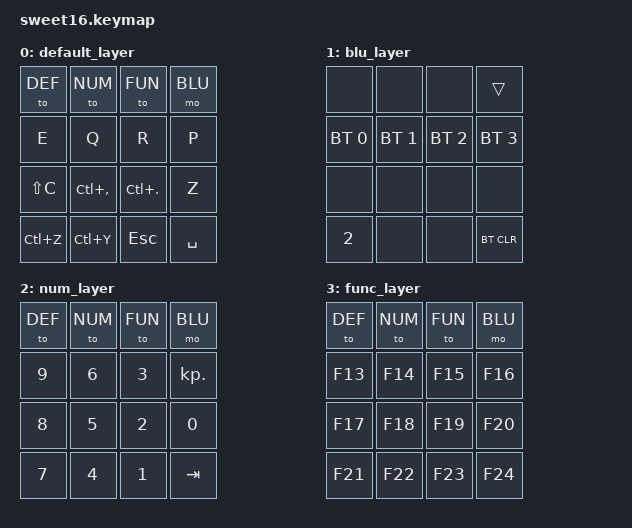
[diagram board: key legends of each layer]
/*
 * Copyright (c) 2022 The ZMK Contributors
 *
 * SPDX-License-Identifier: MIT
 */

#include <behaviors.dtsi>
#include <dt-bindings/zmk/keys.h>
#include <dt-bindings/zmk/bt.h>
#include <dt-bindings/zmk/rgb.h>


#define DEF 0
#define BLU 1
#define NUM 2
#define FUN 3
/ {
        keymap {
                compatible = "zmk,keymap";

                default_layer {
// --------------------------
// | DEF   |  NUM  | FUN  | BLU  |
// | Erase | Curve | Rot  | Pen  |
// | NewF  |  <    |   >  | Zoom |
// | Undo  | Redo  | ESC  | Pan  |
                        bindings = <
   &to DEF   &to NUM       &to FUN     &mo BLU
   &kp E     &kp Q         &kp R       &kp P
   &kp LS(C) &kp LC(COMMA) &kp LC(DOT) &kp Z
   &kp LC(Z) &kp LC(Y)     &kp ESC     &kp SPACE
                        >;
                };

                blu_layer {
// ------------------------
// |     |     |     |     |
// | BT1 | BT2 | BT3 | BT4 |
// |     |     |     |     |
// |     |     |     |BTCLR|
                        bindings = <
   &none        &none        &none        &trans
   &bt BT_SEL 0 &bt BT_SEL 1 &bt BT_SEL 2 &bt BT_SEL 3 
   &none        &none        &none        &none 
   &kp 2        &none        &none        &bt BT_CLR 
                        >;
                };
                
                num_layer {
// --------------------------
// | DEF |  NUM  |  FUN  | BLU |
// | 7 | 8  | 9  | /     |
// | 4 | 5  | 6  | -     |
// | 1 | 2  | 3  | ENTER |
                        bindings = <
   &to DEF  &to NUM  &to FUN  &mo BLU
   &kp N9   &kp N6   &kp N3   &kp KP_DOT
   &kp N8   &kp N5   &kp N2   &kp N0
   &kp N7   &kp N4   &kp N1   &kp TAB
                        >;
                };
                
                func_layer {
// --------------------------
// | DEF |  NUM  |  FUN  | BLU |
// | F13 |  F14  |  F15  | F16 |
// | F17 |  F18  |  F19  | F20 |
// | F21 |  F22  |  F23  | F24 |
                        bindings = <
   &to DEF  &to NUM  &to FUN   &mo BLU
   &kp F13  &kp F14  &kp F15   &kp F16
   &kp F17  &kp F18  &kp F19   &kp F20
   &kp F21  &kp F22  &kp F23   &kp F24
                        >;
                };
        };
};
